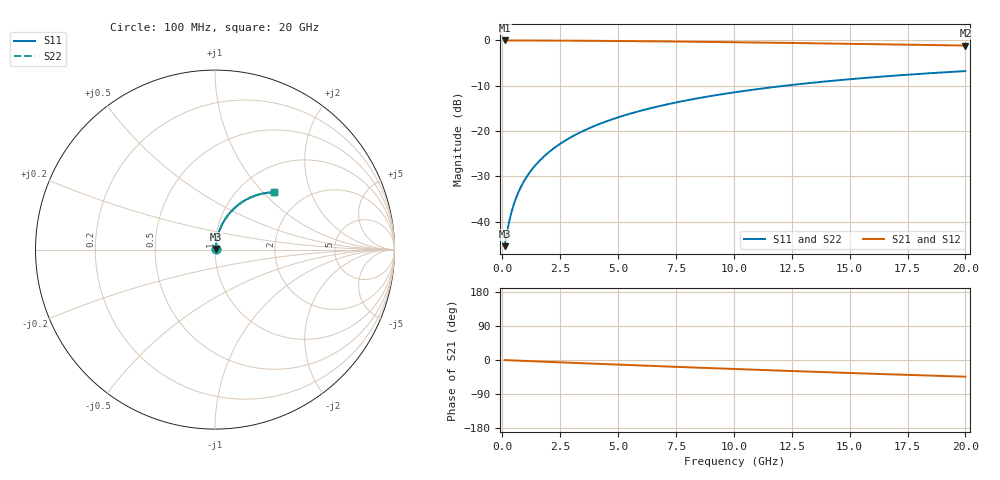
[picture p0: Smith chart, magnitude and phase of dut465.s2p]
! Touchstone file exported from HFSS 2026.1.0
!  File:  C:/ffzhzh/LocalFiles/Ansys_Project_Files/temp_train_BSMRDL_465_1783013558_4048.aedt
!  Generated:  01:33:59 AM Jul  3, 2026
!  Design:  BSMRDL
!  Project:  temp_train_BSMRDL_465_1783013558_4048
! Variables:
!  h_bsmrdl = 4.41um
!  h_ox = 20um
!  h_rdl = 5um
!  h_sub = 80um
!  h_tmrdl = 5um
!  h_tsv = 80um
!  h_via = 3um
!  l_bsmrdl = 624.65um
!  l_sub = 1024.65um
!  l_tmrdl = 200um
!  m_sub = 200um
!  pitch = 38.83um
!  r_tsv = 6um
!  s_tmrdl = 10um
!  w_bsmrdl = 11.33um
!  w_sub = 500um
!  w_tmrdl = 12um
!  x_tsv_center1 = 206um
!  x_tsv_center2 = 841.98um
!  x_tsv_center3 = 1053.98um
!  x_tsv_center4 = 1689.96um
!  x_tsv_center5 = 1901.96um
!  x_tsv_center6 = 2537.94um
# GHz S MA R 50.000000
! Terminal data exported
! Port[1] = BSM_RDL1_1_T1
! Port[2] = BSM_RDL1_1_T2
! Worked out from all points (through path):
!   200 points, 100 MHz to 20 GHz, reference 50 ohm
!   highest |S21| = -0.04 dB at 100 MHz (marker M1); lowest = -1.2 dB at 20 GHz (marker M2)
!   group delay of S21, straight-line fit = 6.12 ps
!   lowest |S11| = -45.4 dB at 100 MHz (marker M3), VSWR 1.01, Z = 50.4 + j0.304 ohm
!   |S11| at or under -10 dB: start of sweep to 12.23 GHz
!   |S22| runs from -45.4 to -6.8 dB; largest |S21 - S12| = 3.3e-15
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0.1  0.005388 34.0  0.9955 -0.3  0.9955 -0.3  0.005388 34.0
! Gamma 0 0 0 0
! Port Impedance 50 0 50 0
0.2  0.007548 52.7  0.9955 -0.5  0.9955 -0.5  0.007548 52.7
0.3  0.01013 62.2  0.9953 -0.8  0.9953 -0.8  0.01013 62.2
0.4  0.01287 67.6  0.9952 -1.0  0.9952 -1.0  0.01287 67.6
0.5  0.01565 70.9  0.9951 -1.3  0.9951 -1.3  0.01565 70.9
0.6  0.01846 73.1  0.995 -1.5  0.995 -1.5  0.01846 73.1
0.8  0.0241 75.9  0.9947 -2.0  0.9947 -2.0  0.0241 75.9
1.1  0.03261 78.1  0.9943 -2.7  0.9943 -2.7  0.03261 78.1
1.5  0.04399 79.2  0.9937 -3.7  0.9937 -3.7  0.04399 79.2
1.8  0.05253 79.4  0.9931 -4.5  0.9931 -4.5  0.05253 79.4
2.1  0.06106 79.4  0.9925 -5.2  0.9925 -5.2  0.06106 79.4
2.7  0.07803 78.8  0.9909 -6.7  0.9909 -6.7  0.07803 78.8
3.5  0.1004 77.6  0.9883 -8.6  0.9883 -8.6  0.1004 77.6
4.2  0.1197 76.2  0.9856 -10.3  0.9856 -10.3  0.1197 76.2
5  0.1414 74.6  0.9821 -12.2  0.9821 -12.2  0.1414 74.6
5.9  0.1653 72.7  0.9776 -14.3  0.9776 -14.3  0.1653 72.7
6.8  0.1886 70.7  0.9727 -16.4  0.9727 -16.4  0.1886 70.7
8.3  0.2261 67.5  0.9636 -19.9  0.9636 -19.9  0.2261 67.5
10.1  0.2689 63.6  0.9516 -23.9  0.9516 -23.9  0.2689 63.6
13.4  0.3406 56.8  0.9271 -31.0  0.9271 -31.0  0.3406 56.8
16.7  0.4036 50.3  0.901 -37.7  0.901 -37.7  0.4036 50.3
20  0.4578 44.1  0.8746 -44.1  0.8746 -44.1  0.4577 44.2
